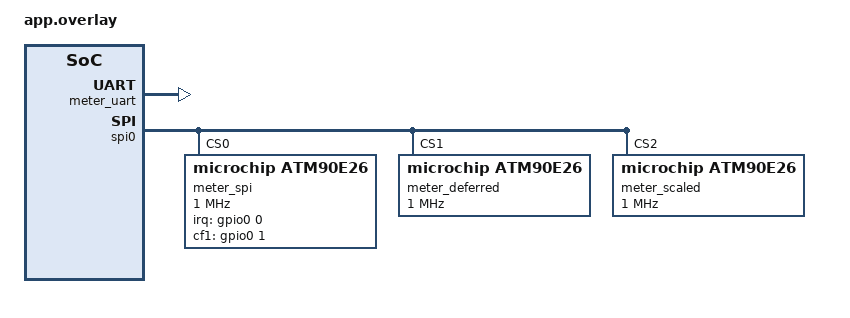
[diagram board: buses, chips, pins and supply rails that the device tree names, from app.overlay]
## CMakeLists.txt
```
# Copyright (c) 2025 Pedro Ramos
# SPDX-License-Identifier: Apache-2.0

cmake_minimum_required(VERSION 3.28.0)
find_package(Zephyr REQUIRED HINTS $ENV{ZEPHYR_BASE})
project(atm90e26)

target_sources(app PRIVATE src/main.c)
```

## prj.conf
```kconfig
CONFIG_ZTEST=y
CONFIG_EMUL=y
CONFIG_GPIO=y
CONFIG_SPI=y
CONFIG_SERIAL=y
CONFIG_UART_EMUL=y
CONFIG_ENERGY_METER=y
CONFIG_LOG=y
```

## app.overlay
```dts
/*
 * Copyright (c) 2025 Pedro Ramos
 *
 * SPDX-License-Identifier: Apache-2.0
 */

#include <zephyr/dt-bindings/gpio/gpio.h>

/ {
	euart_meter: uart-meter {
		compatible = "zephyr,uart-emul";
		current-speed = <9600>;
		status = "okay";

		meter_uart: atm90e26 {
			compatible = "microchip,atm90e26";
			meter-constant = <3200>;
			mmode = <0x9423>;
			u-gain = <0x6000>;
		};
	};
};

&spi0 {
	meter_spi: atm90e26@0 {
		compatible = "microchip,atm90e26";
		reg = <0>;
		spi-max-frequency = <1000000>;
		meter-constant = <3200>;
		func-en = <0x0008>;
		pl-constant = <0x0015d175>;
		l-gain = <0x1234>;
		mmode = <0x9423>;
		u-gain = <0x6000>;
		q-offset-n = <0x0042>;
		irq-gpios = <&gpio0 0 GPIO_ACTIVE_HIGH>;
		cf1-gpios = <&gpio0 1 GPIO_ACTIVE_HIGH>;
	};

	meter_deferred: atm90e26@1 {
		compatible = "microchip,atm90e26";
		reg = <1>;
		spi-max-frequency = <1000000>;
		zephyr,deferred-init;
	};

	/* Calibrated to read one tenth of the actual current */
	meter_scaled: atm90e26@2 {
		compatible = "microchip,atm90e26";
		reg = <2>;
		spi-max-frequency = <1000000>;
		current-scale = <10 1>;
	};
};
```

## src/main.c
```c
/*
 * Copyright (c) 2025 Pedro Ramos
 *
 * SPDX-License-Identifier: Apache-2.0
 */

#include <string.h>

#include <zephyr/device.h>
#include <zephyr/drivers/emul.h>
#include <zephyr/drivers/energy_meter.h>
#include <zephyr/drivers/energy_meter/atm90e26.h>
#include <zephyr/drivers/gpio.h>
#include <zephyr/drivers/gpio/gpio_emul.h>
#include <zephyr/ztest.h>

#ifdef CONFIG_SHELL_BACKEND_DUMMY
#include <zephyr/shell/shell.h>
#include <zephyr/shell/shell_dummy.h>
#endif

#include "atm90e26.h"
#include "emul_atm90e26.h"

#define SPI_NODE      DT_NODELABEL(meter_spi)
#define UART_NODE     DT_NODELABEL(meter_uart)
#define DEFERRED_NODE DT_NODELABEL(meter_deferred)

#define IRQ_PIN DT_GPIO_PIN(SPI_NODE, irq_gpios)
#define CF1_PIN DT_GPIO_PIN(SPI_NODE, cf1_gpios)

#define LINE_A     ENERGY_METER_LINE_A
#define LINE_N     ENERGY_METER_LINE_N
#define LINE_TOTAL ENERGY_METER_LINE_TOTAL

struct meter {
	const char *name;
	const struct device *dev;
	const struct emul *emul;
};

static const struct meter meters[] = {
	{"spi", DEVICE_DT_GET(SPI_NODE), EMUL_DT_GET(SPI_NODE)},
	{"uart", DEVICE_DT_GET(UART_NODE), EMUL_DT_GET(UART_NODE)},
};

static int64_t get(const struct meter *m, uint8_t quantity, uint8_t line)
{
	int64_t value;

	zassert_ok(energy_meter_get_one(m->dev, quantity, line, &value), "%s quantity %u line %u",
		   m->name, quantity, line);

	return value;
}

ZTEST(atm90e26, test_init_applies_devicetree)
{
	static const uint16_t meter_cal[ATM90E26_METER_CAL_LEN] = {
		0x0015, 0xD175, 0x1234, 0, 0, 0, 0x08BD, 0, 0x0AEC, 0, 0x9423,
	};
	static const uint16_t meas_cal[ATM90E26_MEAS_CAL_LEN] = {
		0x6000, 0x7A13, 0x7530, 0, 0, 0, 0, 0, 0, 0x0042,
	};
	const struct emul *emul = EMUL_DT_GET(SPI_NODE);

	zassert_true(atm90e26_emul_reset_count(emul) >= 1U, "no soft reset at init");
	zassert_equal(atm90e26_emul_get_reg(emul, ATM90E26_REG_FUNC_EN), 0x0008);

	for (size_t i = 0; i < ARRAY_SIZE(meter_cal); i++) {
		zassert_equal(atm90e26_emul_get_reg(emul, ATM90E26_REG_PL_CONST_H + i),
			      meter_cal[i], "metering register 0x%02x",
			      ATM90E26_REG_PL_CONST_H + i);
	}

	for (size_t i = 0; i < ARRAY_SIZE(meas_cal); i++) {
		zassert_equal(atm90e26_emul_get_reg(emul, ATM90E26_REG_U_GAIN + i), meas_cal[i],
			      "measurement register 0x%02x", ATM90E26_REG_U_GAIN + i);
	}

	zassert_equal(atm90e26_emul_get_reg(emul, ATM90E26_REG_CS1),
		      atm90e26_checksum(meter_cal, ARRAY_SIZE(meter_cal)));
	zassert_equal(atm90e26_emul_get_reg(emul, ATM90E26_REG_CS2),
		      atm90e26_checksum(meas_cal, ARRAY_SIZE(meas_cal)));
	zassert_equal(atm90e26_emul_get_reg(emul, ATM90E26_REG_CAL_START), ATM90E26_CAL_CHECK_CMD);
	zassert_equal(atm90e26_emul_get_reg(emul, ATM90E26_REG_ADJ_START), ATM90E26_CAL_CHECK_CMD);

	/* The UART instance went through the same sequence */
	emul = EMUL_DT_GET(UART_NODE);
	zassert_equal(atm90e26_emul_get_reg(emul, ATM90E26_REG_MMODE), 0x9423);
	zassert_equal(atm90e26_emul_get_reg(emul, ATM90E26_REG_U_GAIN), 0x6000);
	zassert_equal(atm90e26_emul_get_reg(emul, ATM90E26_REG_ADJ_START), ATM90E26_CAL_CHECK_CMD);
}

ZTEST(atm90e26, test_checksum_of_power_on_values)
{
	/* Power-on values of 21h-2Bh: byte sum 0x3CB, byte XOR 0x55 */
	static const uint16_t regs[] = {
		0x0015, 0xD174, 0, 0, 0, 0, 0x08BD, 0, 0x0AEC, 0, 0x9422,
	};

	zassert_equal(atm90e26_checksum(regs, ARRAY_SIZE(regs)), 0x55CB);
}

ZTEST(atm90e26, test_info)
{
	struct energy_meter_info info;

	zassert_ok(energy_meter_get_info(meters[0].dev, &info));
	zassert_equal(info.phases, 1);
	zassert_true((info.quantities[LINE_A] & BIT(ENERGY_METER_VOLTAGE)) != 0U);
	zassert_true((info.quantities[LINE_N] & BIT(ENERGY_METER_VOLTAGE)) == 0U);
	zassert_true((info.quantities[LINE_N] & BIT(ENERGY_METER_ACTIVE_POWER)) != 0U);
	zassert_true((info.quantities[LINE_TOTAL] & BIT(ENERGY_METER_FREQUENCY)) != 0U);
	zassert_true((info.quantities[LINE_TOTAL] & BIT(ENERGY_METER_ACTIVE_ENERGY_IMPORT)) != 0U);
	zassert_equal(info.quantities[ENERGY_METER_LINE_B], 0U);
	zassert_equal(info.quantities[ENERGY_METER_LINE_C], 0U);
}

ZTEST(atm90e26, test_measurements)
{
	ARRAY_FOR_EACH_PTR(meters, m) {
		atm90e26_emul_set_reg(m->emul, ATM90E26_REG_URMS, 23012);
		zassert_equal(get(m, ENERGY_METER_VOLTAGE, LINE_A), 230120000, "%s", m->name);

		atm90e26_emul_set_reg(m->emul, ATM90E26_REG_IRMS2, 5123);
		zassert_equal(get(m, ENERGY_METER_CURRENT, LINE_N), 5123000, "%s", m->name);

		atm90e26_emul_set_reg(m->emul, ATM90E26_REG_PMEAN, (uint16_t)-1500);
		zassert_equal(get(m, ENERGY_METER_ACTIVE_POWER, LINE_A), -1500000000LL, "%s",
			      m->name);

		atm90e26_emul_set_reg(m->emul, ATM90E26_REG_SMEAN2, 2300);
		zassert_equal(get(m, ENERGY_METER_APPARENT_POWER, LINE_N), 2300000000LL, "%s",
			      m->name);

		atm90e26_emul_set_reg(m->emul, ATM90E26_REG_FREQ, 5002);
		zassert_equal(get(m, ENERGY_METER_FREQUENCY, LINE_TOTAL), 50020000, "%s", m->name);
	}
}

ZTEST(atm90e26, test_power_factor_and_angle_are_sign_magnitude)
{
	ARRAY_FOR_EACH_PTR(meters, m) {
		/* Sign bit set, magnitude 500: -0.500 */
		atm90e26_emul_set_reg(m->emul, ATM90E26_REG_POWERF, 0x81F4);
		zassert_equal(get(m, ENERGY_METER_POWER_FACTOR, LINE_A), -500000, "%s", m->name);

		atm90e26_emul_set_reg(m->emul, ATM90E26_REG_POWERF2, 0x03E8);
		zassert_equal(get(m, ENERGY_METER_POWER_FACTOR, LINE_N), 1000000, "%s", m->name);

		/* Sign bit set, magnitude 900: -90.0 degrees */
		atm90e26_emul_set_reg(m->emul, ATM90E26_REG_PANGLE, 0x8384);
		zassert_equal(get(m, ENERGY_METER_PHASE_ANGLE, LINE_A), -90000000, "%s", m->name);

		/* -180.0 degrees is the same angle as 180.0, the end of the API range */
		atm90e26_emul_set_reg(m->emul, ATM90E26_REG_PANGLE, 0x8708);
		zassert_equal(get(m, ENERGY_METER_PHASE_ANGLE, LINE_A), 180000000, "%s", m->name);
	}
}

ZTEST(atm90e26, test_energy_accumulates_across_reads)
{
	ARRAY_FOR_EACH_PTR(meters, m) {
		int64_t before = get(m, ENERGY_METER_ACTIVE_ENERGY_IMPORT, LINE_TOTAL);

		/* 32 counts of 0.1 CF at 3200 imp/kWh is 1 Wh */
		atm90e26_emul_set_reg(m->emul, ATM90E26_REG_AP_ENERGY, 32);
		zassert_equal(get(m, ENERGY_METER_ACTIVE_ENERGY_IMPORT, LINE_TOTAL) - before,
			      1000000, "%s", m->name);
		zassert_equal(atm90e26_emul_get_reg(m->emul, ATM90E26_REG_AP_ENERGY), 0,
			      "%s: energy register not cleared by the read", m->name);

		atm90e26_emul_set_reg(m->emul, ATM90E26_REG_AP_ENERGY, 16);
		zassert_equal(get(m, ENERGY_METER_ACTIVE_ENERGY_IMPORT, LINE_TOTAL) - before,
			      1500000, "%s", m->name);
	}
}

ZTEST(atm90e26, test_every_energy_value_has_its_own_register)
{
	static const uint8_t quantities[ATM90E26_ENERGY_COUNT] = {
		ENERGY_METER_ACTIVE_ENERGY_IMPORT,       ENERGY_METER_ACTIVE_ENERGY_EXPORT,
		ENERGY_METER_ATM90E26_ACTIVE_ENERGY_ABS, ENERGY_METER_REACTIVE_ENERGY_IMPORT,
		ENERGY_METER_REACTIVE_ENERGY_EXPORT,     ENERGY_METER_ATM90E26_REACTIVE_ENERGY_ABS,
	};

	ARRAY_FOR_EACH_PTR(meters, m) {
		int64_t before[ATM90E26_ENERGY_COUNT];

		for (int i = 0; i < ATM90E26_ENERGY_COUNT; i++) {
			before[i] = get(m, quantities[i], LINE_TOTAL);
			atm90e26_emul_set_reg(m->emul, ATM90E26_REG_AP_ENERGY + i, 32 * (i + 1));
		}

		for (int i = 0; i < ATM90E26_ENERGY_COUNT; i++) {
			zassert_equal(get(m, quantities[i], LINE_TOTAL) - before[i],
				      1000000 * (i + 1), "%s energy %d", m->name, i);
		}
	}
}

ZTEST(atm90e26, test_unsupported_channels)
{
	int64_t value;

	zassert_equal(energy_meter_get_one(meters[0].dev, ENERGY_METER_VOLTAGE, ENERGY_METER_LINE_B,
					   &value),
		      -ENOTSUP);
	zassert_equal(
		energy_meter_get_one(meters[0].dev, ENERGY_METER_TEMPERATURE, LINE_TOTAL, &value),
		-ENOTSUP);
}

ZTEST(atm90e26, test_snapshot)
{
	struct energy_meter_snapshot snap;

	atm90e26_emul_set_reg(meters[1].emul, ATM90E26_REG_URMS, 22000);
	atm90e26_emul_set_reg(meters[1].emul, ATM90E26_REG_IRMS2, 250);

	zassert_ok(energy_meter_get_snapshot(meters[1].dev, &snap));
	zassert_equal(snap.phases, 1);
	zassert_equal(snap.line[LINE_A].voltage, 220000000);
	zassert_equal(snap.line[LINE_N].current, 250000);
	zassert_equal(snap.valid[ENERGY_METER_LINE_B], 0U);
}

ZTEST(atm90e26, test_reset_energy)
{
	ARRAY_FOR_EACH_PTR(meters, m) {
		atm90e26_emul_set_reg(m->emul, ATM90E26_REG_RP_ENERGY, 64);
		zassert_true(get(m, ENERGY_METER_REACTIVE_ENERGY_IMPORT, LINE_TOTAL) > 0);

		atm90e26_emul_set_reg(m->emul, ATM90E26_REG_RP_ENERGY, 64);
		zassert_ok(energy_meter_reset_energy(m->dev));
		zassert_equal(atm90e26_emul_get_reg(m->emul, ATM90E26_REG_RP_ENERGY), 0);
		zassert_equal(get(m, ENERGY_METER_REACTIVE_ENERGY_IMPORT, LINE_TOTAL), 0, "%s",
			      m->name);
	}
}

ZTEST(atm90e26, test_sys_status_is_cleared_by_read)
{
	ARRAY_FOR_EACH_PTR(meters, m) {
		atm90e26_emul_set_reg(m->emul, ATM90E26_REG_SYS_STATUS, 0x0082);

		zassert_equal(get(m, ENERGY_METER_ATM90E26_SYS_STATUS, LINE_TOTAL), 0x0082, "%s",
			      m->name);
		zassert_equal(atm90e26_emul_get_reg(m->emul, ATM90E26_REG_SYS_STATUS), 0);
	}
}

ZTEST(atm90e26, test_corrupted_uart_read_keeps_energy)
{
	const struct meter *m = &meters[1];
	int64_t before = get(m, ENERGY_METER_ATM90E26_REACTIVE_ENERGY_ABS, LINE_TOTAL);
	int64_t value;

	/* The UART checksum catches the corruption without read verification */
	atm90e26_emul_set_reg(m->emul, ATM90E26_REG_RT_ENERGY, 64);
	atm90e26_emul_corrupt_reads(m->emul, 1);
	zassert_equal(get(m, ENERGY_METER_ATM90E26_REACTIVE_ENERGY_ABS, LINE_TOTAL) - before,
		      2000000);

	/* With every copy corrupted the read fails instead of returning garbage */
	atm90e26_emul_corrupt_reads(m->emul, 3);
	zassert_equal(energy_meter_get_one(m->dev, ENERGY_METER_FREQUENCY, LINE_TOTAL, &value),
		      -EIO);
}

ZTEST(atm90e26, test_corrupted_spi_read_keeps_energy)
{
	const struct meter *m = &meters[0];
	int64_t before = get(m, ENERGY_METER_ACTIVE_ENERGY_EXPORT, LINE_TOTAL);

	Z_TEST_SKIP_IFNDEF(CONFIG_ATM90E26_VERIFY_READ);

	atm90e26_emul_set_reg(m->emul, ATM90E26_REG_AN_ENERGY, 64);
	atm90e26_emul_corrupt_reads(m->emul, 1);
	zassert_equal(get(m, ENERGY_METER_ACTIVE_ENERGY_EXPORT, LINE_TOTAL) - before, 2000000);
}

ZTEST(atm90e26, test_uart_timeout)
{
	const struct meter *m = &meters[1];
	int64_t value;

	atm90e26_emul_set_present(m->emul, false);
	zassert_equal(energy_meter_get_one(m->dev, ENERGY_METER_VOLTAGE, LINE_A, &value),
		      -ETIMEDOUT);
	atm90e26_emul_set_present(m->emul, true);
	zassert_ok(energy_meter_get_one(m->dev, ENERGY_METER_VOLTAGE, LINE_A, &value));
}

ZTEST(atm90e26, test_init_failures)
{
	const struct device *dev = DEVICE_DT_GET(DEFERRED_NODE);
	const struct emul *emul = EMUL_DT_GET(DEFERRED_NODE);

	zassert_false(device_is_ready(dev));

	atm90e26_emul_set_present(emul, false);
	zassert_equal(device_init(dev), -ENODEV);
	atm90e26_emul_set_present(emul, true);

	/*
	 * The unverified soft reset takes the first dropped write; the next three exhaust the
	 * retries of the first verified write.
	 */
	atm90e26_emul_drop_writes(emul, 4);
	zassert_equal(device_init(dev), -EIO);

	/* Two dropped writes are recovered by retrying */
	atm90e26_emul_drop_writes(emul, 2);
	zassert_ok(device_init(dev));
	zassert_true(device_is_ready(dev));
	zassert_equal(device_init(dev), -EALREADY);
}

ZTEST(atm90e26, test_current_scale)
{
	const struct device *scaled = DEVICE_DT_GET(DT_NODELABEL(meter_scaled));
	const struct emul *scaled_emul = EMUL_DT_GET(DT_NODELABEL(meter_scaled));
	int64_t before;
	int64_t value;

	/* 60 A read by the chip is 600 A, beyond the 65.535 A register range */
	atm90e26_emul_set_reg(scaled_emul, ATM90E26_REG_IRMS, 60000);
	zassert_ok(energy_meter_get_one(scaled, ENERGY_METER_CURRENT, LINE_A, &value));
	zassert_equal(value, 600000000);

	/* 13.8 kW read by the chip is 138 kW, beyond the 32.767 kW register range */
	atm90e26_emul_set_reg(scaled_emul, ATM90E26_REG_PMEAN, 13800);
	zassert_ok(energy_meter_get_one(scaled, ENERGY_METER_ACTIVE_POWER, LINE_A, &value));
	zassert_equal(value, 138000000000LL);

	atm90e26_emul_set_reg(scaled_emul, ATM90E26_REG_QMEAN2, (uint16_t)-1500);
	zassert_ok(energy_meter_get_one(scaled, ENERGY_METER_REACTIVE_POWER, LINE_N, &value));
	zassert_equal(value, -15000000000LL);

	/* 1 Wh counted by the chip is 10 Wh */
	zassert_ok(energy_meter_get_one(scaled, ENERGY_METER_ACTIVE_ENERGY_IMPORT, LINE_TOTAL,
					&before));
	atm90e26_emul_set_reg(scaled_emul, ATM90E26_REG_AP_ENERGY, 32);
	zassert_ok(energy_meter_get_one(scaled, ENERGY_METER_ACTIVE_ENERGY_IMPORT, LINE_TOTAL,
					&value));
	zassert_equal(value - before, 10000000);

	/* Voltage and power factor do not depend on the current calibration */
	atm90e26_emul_set_reg(scaled_emul, ATM90E26_REG_URMS, 23012);
	zassert_ok(energy_meter_get_one(scaled, ENERGY_METER_VOLTAGE, LINE_A, &value));
	zassert_equal(value, 230120000);

	atm90e26_emul_set_reg(scaled_emul, ATM90E26_REG_POWERF, 0x81F4);
	zassert_ok(energy_meter_get_one(scaled, ENERGY_METER_POWER_FACTOR, LINE_A, &value));
	zassert_equal(value, -500000);
}

struct event_record {
	struct k_sem sem;
	const struct device *dev;
	struct energy_meter_event event;
};

static void event_cb(const struct device *dev, const struct energy_meter_event *event,
		     void *user_data)
{
	struct event_record *rec = user_data;

	rec->dev = dev;
	rec->event = *event;
	k_sem_give(&rec->sem);
}

static void pulse(const struct device *gpio, gpio_pin_t pin)
{
	zassert_ok(gpio_emul_input_set(gpio, pin, 0));
	zassert_ok(gpio_emul_input_set(gpio, pin, 1));
	zassert_ok(gpio_emul_input_set(gpio, pin, 0));
}

ZTEST(atm90e26, test_events)
{
	const struct device *dev = meters[0].dev;
	const struct device *gpio = DEVICE_DT_GET(DT_NODELABEL(gpio0));
	static struct event_record rec;

	if (!IS_ENABLED(CONFIG_ATM90E26_EVENTS)) {
		zassert_equal(energy_meter_set_event_callback(dev, event_cb, &rec), -ENOSYS);
		ztest_test_skip();
	}

	k_sem_init(&rec.sem, 0, 1);
	zassert_ok(energy_meter_set_event_callback(dev, event_cb, &rec));

	pulse(gpio, IRQ_PIN);
	zassert_ok(k_sem_take(&rec.sem, K_MSEC(100)), "IRQ event not reported");
	zassert_equal_ptr(rec.dev, dev);
	zassert_equal(rec.event.type, ENERGY_METER_EVENT_ALARM);
	zassert_equal(rec.event.index, 0);

	pulse(gpio, CF1_PIN);
	zassert_ok(k_sem_take(&rec.sem, K_MSEC(100)), "CF1 event not reported");
	zassert_equal(rec.event.type, ENERGY_METER_EVENT_PULSE);
	zassert_equal(rec.event.index, 0);

	zassert_ok(energy_meter_set_event_callback(dev, NULL, NULL));
	pulse(gpio, IRQ_PIN);
	zassert_equal(k_sem_take(&rec.sem, K_MSEC(50)), -EAGAIN);
}

#ifdef CONFIG_SHELL_BACKEND_DUMMY
static const char *run(const char *cmd, int expected)
{
	const struct shell *sh = shell_backend_dummy_get_ptr();
	size_t size;

	WAIT_FOR(shell_ready(sh), 20000, k_msleep(1));
	shell_backend_dummy_clear_output(sh);
	zassert_equal(shell_execute_cmd(sh, cmd), expected, "%s", cmd);

	return shell_backend_dummy_get_output(sh, &size);
}
#endif

ZTEST(atm90e26, test_register_shell)
{
	Z_TEST_SKIP_IFNDEF(CONFIG_ATM90E26_SHELL);

#ifdef CONFIG_ATM90E26_SHELL
	const struct emul *emul = EMUL_DT_GET(UART_NODE);
	uint16_t meas_cal[ATM90E26_MEAS_CAL_LEN];
	const char *out;

	out = run("atm90e26 read atm90e26 0x2b", 0);
	zassert_not_null(strstr(out, "0x2b: 0x9423"), "%s", out);

	/* A calibration register is written with its whole block and a new checksum */
	run("atm90e26 write atm90e26 0x33 0x7531", 0);
	for (size_t i = 0; i < ARRAY_SIZE(meas_cal); i++) {
		meas_cal[i] = atm90e26_emul_get_reg(emul, ATM90E26_REG_U_GAIN + i);
	}
	zassert_equal(meas_cal[2], 0x7531);
	zassert_equal(meas_cal[0], 0x6000, "the rest of the block must be kept");
	zassert_equal(atm90e26_emul_get_reg(emul, ATM90E26_REG_CS2),
		      atm90e26_checksum(meas_cal, ARRAY_SIZE(meas_cal)));
	zassert_equal(atm90e26_emul_get_reg(emul, ATM90E26_REG_ADJ_START), ATM90E26_CAL_CHECK_CMD);

	run("atm90e26 read atm90e26 0x80", -EINVAL);
#endif
}

ZTEST(atm90e26, test_energy_meter_shell)
{
	Z_TEST_SKIP_IFNDEF(CONFIG_ENERGY_METER_SHELL);

#ifdef CONFIG_ENERGY_METER_SHELL
	const char *out;

	atm90e26_emul_set_reg(EMUL_DT_GET(SPI_NODE), ATM90E26_REG_URMS, 23012);

	out = run("energy_meter get atm90e26@0", 0);
	zassert_not_null(strstr(out, "230.120"), "%s", out);
	zassert_not_null(strstr(out, "frequency [Hz]"), "%s", out);
#endif
}

static void *atm90e26_setup(void)
{
	ARRAY_FOR_EACH_PTR(meters, m) {
		zassert_true(device_is_ready(m->dev), "%s meter not ready", m->name);
	}

	return NULL;
}

ZTEST_SUITE(atm90e26, NULL, atm90e26_setup, NULL, NULL, NULL);
```
